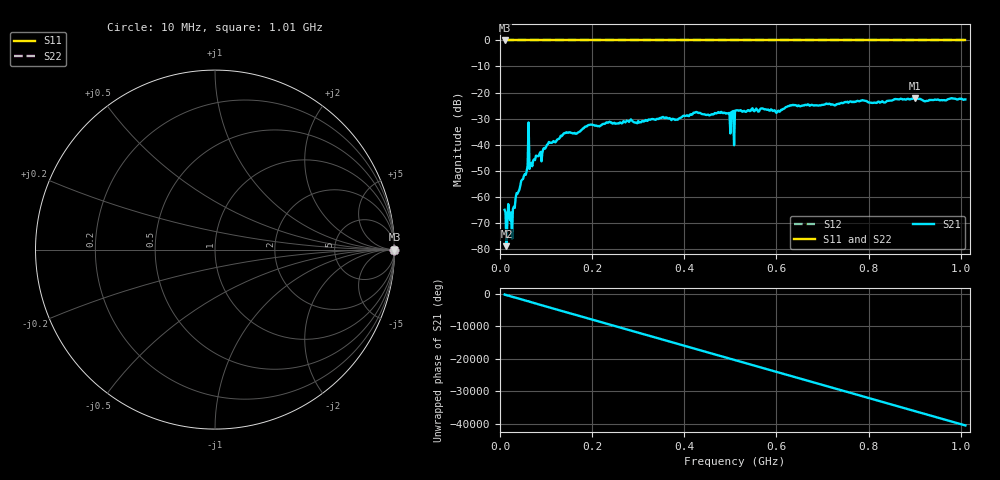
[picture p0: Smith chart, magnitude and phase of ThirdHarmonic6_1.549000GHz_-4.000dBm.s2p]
! 8/16/2025 6:22:48 PM
! C:\ANRITSUVNA\TEMP\TEMP.S2P
! CHANNEL.1
! TR.MEASUREMENT
! RAW.DATA
! RF.CORRECTION.OFF
! AVERAGING.OFF
! IF.BANDWIDTH: 5KHZ
! SWEEPTYPE:  FREQ.SWEEP(Linear)
! Reference Plane Port Info
! PORT:  PORT1  PORT2
! DISTANCE:  0  m  0  m
! TIME:  0  s  0  s
! PHASE.OFFSET:  0  deg.  0  deg.
! LOSS:  0  dB  0  dB
! REF.LOSS:  0  dB  0  dB
! REF.FREQ:  0  Hz  0  Hz
! Power Info
! POWER:  -20  dBm  -20  dBm
! EFF.POWER:  -20  dBm  -20  dBm
! SOURCE.ATTEN:  0  dB  0  dB
! TEST.ATTEN:  0  dB  0  dB
# GHZ S RI R 50.0
! FREQ.GHZ  S11RE  S11IM  S21RE  S21IM  S12RE  S12IM  S22RE  S22IM
!; PortSelection: Port_12
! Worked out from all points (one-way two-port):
!   501 points, 10 MHz to 1.01 GHz, reference 50 ohm
!   highest |S21| = -22.15 dB at 900 MHz (marker M1); lowest = -79.0 dB at 14 MHz (marker M2)
!   lowest |S11| = 0.0 dB at 10 MHz (marker M3)
!   |S11| at or under -10 dB: nowhere
!   |S22| runs from 0.0 to 0.0 dB; largest |S21 - S12| = 1.1
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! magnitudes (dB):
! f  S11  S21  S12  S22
! 10 MHz  0.0  -65.0  0.0  0.0
! 14 MHz  0.0  -79.0  0.0  0.0
! 28 MHz  0.0  -64.8  0.0  0.0
! 38 MHz  0.0  -58.9  0.0  0.0
! 56 MHz  0.0  -51.5  0.0  0.0
! 58 MHz  0.0  -50.1  0.0  0.0
! 64 MHz  0.0  -49.3  0.0  0.0
! 68 MHz  0.0  -47.0  0.0  0.0
! 106 MHz  0.0  -39.0  0.0  0.0
! 178 MHz  0.0  -34.2  0.0  0.0
! 344 MHz  0.0  -30.2  0.0  0.0
! 424 MHz  0.0  -27.6  0.0  0.0
! 494 MHz  0.0  -28.0  0.0  0.0
! 502 MHz  0.0  -27.5  0.0  0.0
! 504 MHz  0.0  -27.4  0.0  0.0
! 510 MHz  0.0  -27.0  0.0  0.0
! 514 MHz  0.0  -26.8  0.0  0.0
! 602 MHz  0.0  -27.2  0.0  0.0
! 678 MHz  0.0  -24.8  0.0  0.0
! 844 MHz  0.0  -23.2  0.0  0.0
! 900 MHz  0.0  -22.1  0.0  0.0
! 1.01 GHz  0.0  -22.6  0.0  0.0
